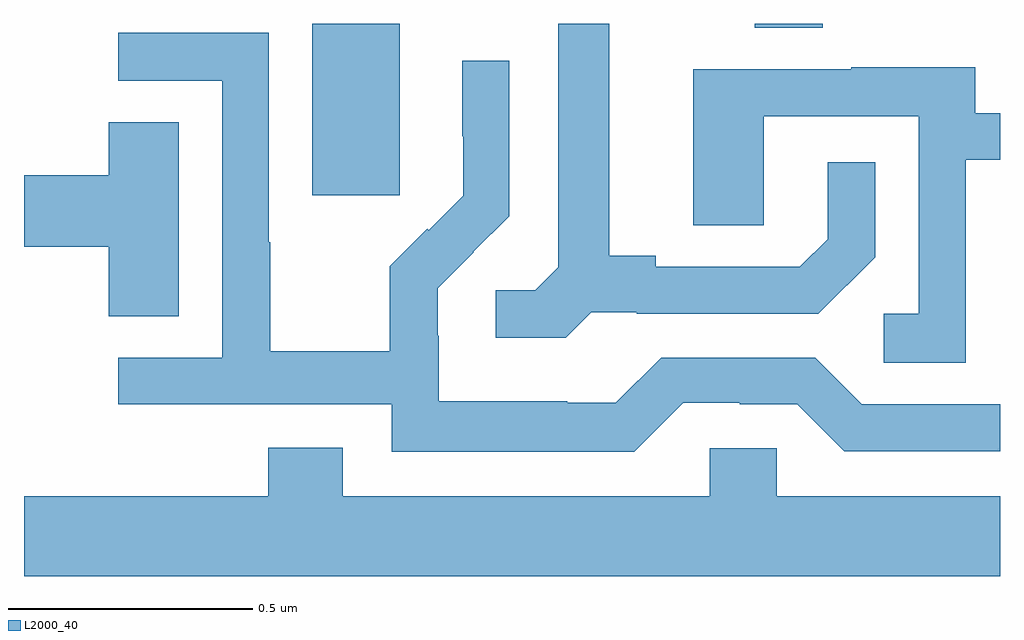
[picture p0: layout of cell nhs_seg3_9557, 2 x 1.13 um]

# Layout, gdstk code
import gdstk
lib = gdstk.Library(unit=1e-6, precision=1e-09)
def R(c, l, rs):  # rectangles x0, y0, x1, y1
    for r in rs: c.add(gdstk.rectangle(r[:2], r[2:], *l))
def P(c, l, *ps):  # polygons
    for p in ps: c.add(gdstk.Polygon(p, *l))
L2000_40 = (2000, 40)

nhs_seg3_9557 = lib.new_cell('nhs_seg3_9557')
R(nhs_seg3_9557, L2000_40, [(230.591,683.049,230.77,683.4), (231.497,683.392,231.637,683.4)])
P(nhs_seg3_9557, L2000_40, [(231.162,682.809),(231.256,682.809),(231.256,682.806),(231.628,682.806),(231.744,682.922),(231.744,683.116),(231.647,683.116),(231.647,682.959),(231.59,682.902),(231.295,682.902),(231.295,682.925),(231.199,682.925),(231.199,683.4),(231.095,683.4),(231.095,682.901),(231.048,682.854),(230.967,682.854),(230.967,682.757),(231.11,682.757)],
  [(231.351,682.623),(231.467,682.623),(231.467,682.62),(231.585,682.62),(231.681,682.524),(232,682.524),(232,682.62),(231.717,682.62),(231.621,682.716),(231.306,682.716),(231.213,682.623),(231.113,682.623),(231.113,682.627),(230.85,682.627),(230.85,682.761),(230.848,682.761),(230.848,682.858),(230.922,682.932),(230.921,682.933),(230.994,683.006),(230.994,683.324),(230.898,683.324),(230.898,683.17),(230.9,683.17),(230.9,683.048),(230.829,682.977),(230.826,682.98),(230.749,682.903),(230.749,682.729),(230.505,682.729),(230.505,682.952),(230.502,682.952),(230.502,683.382),(230.193,683.382),(230.193,683.283),(230.406,683.283),(230.406,682.716),(230.193,682.716),(230.193,682.62),(230.754,682.62),(230.754,682.523),(231.251,682.523)],
  [(231.93,683.121),(232,683.121),(232,683.217),(231.949,683.217),(231.949,683.311),(231.695,683.311),(231.695,683.307),(231.371,683.307),(231.371,682.987),(231.516,682.987),(231.516,683.211),(231.834,683.211),(231.834,682.806),(231.762,682.806),(231.762,682.705),(231.93,682.705)],
  [(230.317,683.198),(230.174,683.198),(230.174,683.09),(230,683.09),(230,682.943),(230.174,682.943),(230.174,682.801),(230.317,682.801)],
  [(232,682.432),(231.543,682.432),(231.543,682.53),(231.405,682.53),(231.405,682.432),(230.653,682.432),(230.653,682.531),(230.501,682.531),(230.501,682.432),(230,682.432),(230,682.268),(232,682.268)])

lib.write_gds('nhs_seg3_9557.gds')
